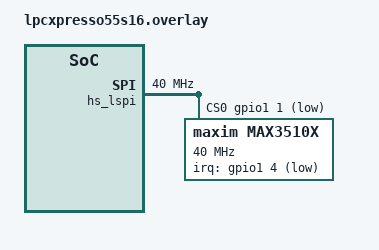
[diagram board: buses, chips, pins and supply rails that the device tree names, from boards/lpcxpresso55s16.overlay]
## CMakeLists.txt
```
# Copyright (c) 2021 Teslabs Engineering S.L.
# SPDX-License-Identifier: Apache-2.0

cmake_minimum_required(VERSION 3.20.0)
find_package(Zephyr REQUIRED HINTS $ENV{ZEPHYR_BASE})
project(max3510x)

FILE(GLOB app_sources src/*.c)
target_sources(app PRIVATE ${app_sources})
```

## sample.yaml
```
sample:
  name: MAX3510X Time to digital converter
tests:
  sample.sensor.max3510x:
    tags: sensors
    harness: console
    depends_on: spi
    harness_config:
      type: multi_line
      ordered: true
      fixture: fixture_spi_max3510x
    filter: dt_compat_enabled("maxim,max3510x")
```

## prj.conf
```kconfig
CONFIG_SPI=y
CONFIG_GPIO=y
CONFIG_SENSOR=y
CONFIG_SENSOR_LOG_LEVEL_DBG=y
CONFIG_LOG=y

CONFIG_GPIO_SHELL=y
CONFIG_SHELL=y
CONFIG_SHELL_CMDS_RETURN_VALUE=y
```

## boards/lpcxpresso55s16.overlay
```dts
#include <nxp/lpc/LPC55S16JBD100-pinctrl.h>

&gpio0 {
    status = "okay";
};

&gpio1 {
    status = "okay";
};

&pinctrl {

	pinmux_hs_lspi: pinmux_hs_lspi {
		group0 {
			pinmux = <HS_SPI_MOSI_PIO0_26>, /* D11 */
				<HS_SPI_SSEL1_PIO1_1>,      /* D10 */
				<HS_SPI_SCK_PIO1_2>,        /* D13 */
				<HS_SPI_MISO_PIO1_3>;       /* D12 */
			bias-pull-up;
			slew-rate = "standard";
		};
	};

};

&hs_lspi {
    status = "okay";
    pinctrl-0 = <&pinmux_hs_lspi>;
	pinctrl-names = "default";

    cs-gpios = <&gpio1 1 GPIO_ACTIVE_LOW>;
    clock-frequency = <40000000>;

	max3510x@0 {
		compatible = "maxim,max3510x";
		reg = <0>;
		spi-max-frequency = <40000000>;
        irq-gpios = <&gpio1 4 (GPIO_ACTIVE_LOW | GPIO_PULL_UP)>;
        transducer-distance = <70>;
	};
};
```

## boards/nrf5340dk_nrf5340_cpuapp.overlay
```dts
&gpio0 {
    status = "okay";
};

&gpio1 {
    status = "okay";
};

/* SPIM_SCK  = 1.15 */
/* SPIM_MISO = 1.14 */
/* SPIM_MOSI = 1.13 */

/* A = yellow = IRQ_GPIO */
/* B = green = MOSI */
/* C = red = MISO */
/* D = blue = CE */

&arduino_spi {
    status = "okay";
    compatible = "nordic,nrf-spim";
    cs-gpios = <&gpio1 4 GPIO_ACTIVE_LOW>;
    clock-frequency = <20000000>;
    pinctrl-0 = <&spi4_default>;
    pinctrl-1 = <&spi4_sleep>;
    pinctrl-names = "default", "sleep";

	max3510x@0 {
		compatible = "maxim,max3510x";
		reg = <0>;
		spi-max-frequency = <20000000>;
        irq-gpios = <&gpio1 1 GPIO_ACTIVE_LOW>;
        rst-gpios = <&gpio1 5 GPIO_ACTIVE_LOW>;
        transducer-distance = <70>;
	};
};
```

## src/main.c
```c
#include <stdio.h>

#include <zephyr/kernel.h>
#include <zephyr/device.h>
#include <zephyr/drivers/sensor.h>
#include <zephyr/logging/log.h>
#include <zephyr/drivers/sensor/max3510x.h>


int main(void)
{
	const struct device *const dev = DEVICE_DT_GET_ONE(maxim_max3510x);

	if (!device_is_ready(dev)) {
		printk("sensor: device not ready.\n");
		return 0;
	}
    printk("Sensor int done\n");

    sensor_sample_fetch_chan(dev, SENSOR_CHAN_MAX3510X_TOF_DIFF);

	struct sensor_value tof_diff;
    sensor_channel_get(dev, SENSOR_CHAN_MAX3510X_TOF_DIFF, &tof_diff);

    printk("TOF Diff, int: %u, frac: %u\n", tof_diff.val1, tof_diff.val2);

    return 0;
}
```
